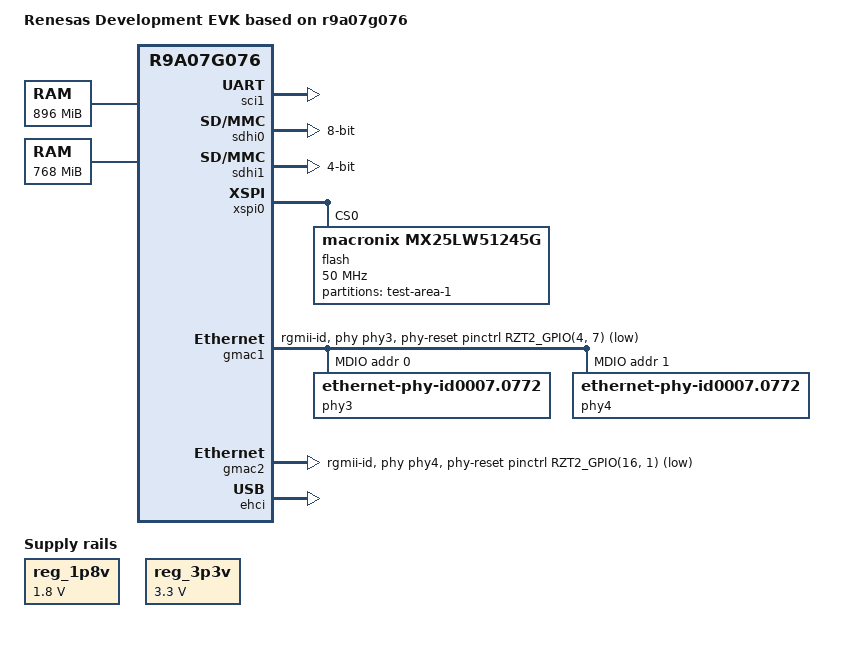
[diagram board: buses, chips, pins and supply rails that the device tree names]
// SPDX-License-Identifier: (GPL-2.0-only OR BSD-2-Clause)
/*
 * Device Tree Source for the RZ/T2N Development EVK board
 *
 * Copyright (C) 2024 Renesas Electronics Corp.
 */

/dts-v1/;
#include "r9a07g076.dtsi"
#include <dt-bindings/pinctrl/rzt2n-pinctrl.h>
#include <dt-bindings/gpio/gpio.h>
#include "r9a07g076-u-boot.dtsi"
/*
 * ETH2 Settings
 * - 0: ETH2 using GMAC2 disabled
 * - 1: ETH2 using GMAC2 ENABLED
 */
#define GMAC2_ETH4_ENABLE		1

/ {
	model = "Renesas Development EVK based on r9a07g076";
	compatible = "renesas,r9a07g076";

	aliases {
		serial0 = &sci1;
		mmc0 = &sdhi0;
		mmc1 = &sdhi1;
		ethernet0 = &gmac1;
		ethernet1 = &gmac2;
	};

	chosen {
		bootargs = "ignore_loglevel";
		stdout-path = "serial0:115200n8";
	};

	memory@c8000000 {
		device_type = "memory";
		/* first 128MiB is reserved for secure area. */
		reg = <0x0 0xc8000000 0x0 0x38000000>;
	};

	memory@240000000 {
		device_type = "memory";
		reg = <0x2 0x40000000 0x0 0x30000000>;
	};

	reg_1p8v: regulator0 {
		compatible = "regulator-fixed";

		regulator-name = "fixed-1.8V";
		regulator-min-microvolt = <1800000>;
		regulator-max-microvolt = <1800000>;
		regulator-boot-on;
		regulator-always-on;
	};

	reg_3p3v: regulator1 {
		compatible = "regulator-fixed";

		regulator-name = "fixed-3.3V";
		regulator-min-microvolt = <3300000>;
		regulator-max-microvolt = <3300000>;
		regulator-boot-on;
		regulator-always-on;
	};

};

&pinctrl {
	sci0_pins: sci0 {
		pinmux = <RZT2_PORT_PINMUX(11, 3, 0x18)>, /* SCI : RXD0/SCL0/MISO0/P11_3 */
			 <RZT2_PORT_PINMUX(11, 4, 0x18)>; /* SCI : TXD0/SDA0/MOSI0/P11_4 */
	};

	sci1_pins: sci1 {
		pinmux = <RZT2_PORT_PINMUX(11, 1, 0x18)>, /* SCI : RXD1/SCL1/MISO1/P11_1 */
			 <RZT2_PORT_PINMUX(11, 2, 0x18)>; /* SCI : TXD1/SDA1/MOSI1/P11_2 */
	};

	sdhi0_pins: sd0 {
		sd0_data {
			pinmux = <RZT2_PORT_PINMUX(4, 6, 0x2C)>, /* SDHI : SD0_DATA0/P04_6 */
				 <RZT2_PORT_PINMUX(4, 7, 0x2C)>, /* SDHI : SD0_DATA1/P04_7 */
				 <RZT2_PORT_PINMUX(5, 0, 0x2C)>, /* SDHI : SD0_DATA2/P05_0 */
				 <RZT2_PORT_PINMUX(5, 1, 0x2C)>, /* SDHI : SD0_DATA3/P05_1 */
				 <RZT2_PORT_PINMUX(5, 2, 0x2C)>, /* SDHI : SD0_DATA4/P05_2 */
				 <RZT2_PORT_PINMUX(5, 3, 0x2C)>, /* SDHI : SD0_DATA5/P05_3 */
				 <RZT2_PORT_PINMUX(5, 4, 0x2C)>, /* SDHI : SD0_DATA6/P05_4 */
				 <RZT2_PORT_PINMUX(5, 5, 0x2C)>; /* SDHI : SD0_DATA7/P05_5 */
		};

		sd0_ctrl {
			pinmux = <RZT2_PORT_PINMUX(4, 4, 0x2C)>, /* SDHI : SD0_CLK/P04_4 */
				 <RZT2_PORT_PINMUX(4, 5, 0x2C)>; /* SDHI : SD0_CMD/P04_5 */
		};
	};

	sdhi1_pins: sd1 {
		sd1_data {
			pinmux = <RZT2_PORT_PINMUX(4, 0, 0x2C)>, /* SDHI : SD1_DATA0/P04_0 */
				 <RZT2_PORT_PINMUX(4, 1, 0x2C)>, /* SDHI : SD1_DATA1/P04_1 */
				 <RZT2_PORT_PINMUX(4, 2, 0x2C)>, /* SDHI : SD1_DATA2/P04_2 */
				 <RZT2_PORT_PINMUX(4, 3, 0x2C)>; /* SDHI : SD1_DATA3/P04_3 */
		};

		sd1_ctrl {
			pinmux = <RZT2_PORT_PINMUX(15, 0, 0x2C)>, /* SDHI : SD1_CD/P15_0 */
				 <RZT2_PORT_PINMUX(3, 6, 0x2C)>, /* SDHI : SD1_CLK/P03_6 */
				 <RZT2_PORT_PINMUX(3, 7, 0x2C)>; /* SDHI : SD1_CMD/P03_7 */
		};
	};


	mdio0_pins: gmac_mdio0 {
		pinmux = <RZT2_PORT_PINMUX(20, 4, 0x11)>, /* GMAC : GMAC0_MDC/P20_4 */
			 <RZT2_PORT_PINMUX(20, 5, 0x11)>; /* GMAC : GMAC0_MDIO/P20_5 */
	};

	mdio1_pins: gmac_mdio1 {
		pinmux = <RZT2_PORT_PINMUX(3, 2, 0x12)>, /* GMAC : GMAC1_MDC/P3_2 */
			 <RZT2_PORT_PINMUX(3, 3, 0x12)>; /* GMAC : GMAC1_MDIO/P3_3 */
	};

	pins_refclk: pins_refclk {
		pinmux = <RZT2_PORT_PINMUX(20, 7, 0x02)>, /* Clock : ETH0_REFCLK/P20_7 */
			 <RZT2_PORT_PINMUX(22, 6, 0x02)>, /* Clock : ETH1_REFCLK/P22_6 */
			 <RZT2_PORT_PINMUX(24, 4, 0x02)>, /* Clock : ETH2_REFCLK/P24_4 */
			 <RZT2_PORT_PINMUX(01, 4, 0x02)>, /* Clock : ETH3_REFCLK/P01_4 */
			 <RZT2_PORT_PINMUX(03, 4, 0x02)>; /* Clock : ETH4_REFCLK/P03_4 */
	};

	eth0_pins: ethss_0 {
		pinmux = <RZT2_PORT_PINMUX(19, 0, 0x0F)>, /* ETHSS : ETH0_TXCLK/P19_0 */
			 <RZT2_PORT_PINMUX(19, 1, 0x0F)>, /* ETHSS : ETH0_TXD0/P19_1 */
			 <RZT2_PORT_PINMUX(19, 2, 0x0F)>, /* ETHSS : ETH0_TXD1/P19_2 */
			 <RZT2_PORT_PINMUX(19, 3, 0x0F)>, /* ETHSS : ETH0_TXD2/P19_3 */
			 <RZT2_PORT_PINMUX(19, 4, 0x0F)>, /* ETHSS : ETH0_TXD3/P19_4 */
			 <RZT2_PORT_PINMUX(19, 5, 0x0F)>, /* ETHSS : ETH0_TXEN/P19_5 */
			 <RZT2_PORT_PINMUX(19, 6, 0x0F)>, /* ETHSS : ETH0_RXCLK/P19_6 */
			 <RZT2_PORT_PINMUX(19, 7, 0x0F)>, /* ETHSS : ETH0_RXD0/P19_7 */
			 <RZT2_PORT_PINMUX(20, 0, 0x0F)>, /* ETHSS : ETH0_RXD1/P20_0 */
			 <RZT2_PORT_PINMUX(20, 1, 0x0F)>, /* ETHSS : ETH0_RXD2/P20_1 */
			 <RZT2_PORT_PINMUX(20, 2, 0x0F)>, /* ETHSS : ETH0_RXD3/P20_2 */
			 <RZT2_PORT_PINMUX(20, 3, 0x0F)>; /* ETHSS : ETH0_RXDV/P20_3 */
			input-schmitt-disable;
			slew-rate	= <1>;
			drive-strength	= <3>;
	};

	eth1_pins: ethss_1 {
		pinmux = <RZT2_PORT_PINMUX(21, 1, 0x0F)>, /* ETHSS : ETH1_TXCLK/P21_1 */
			 <RZT2_PORT_PINMUX(21, 2, 0x0F)>, /* ETHSS : ETH1_TXD0/P21_2 */
			 <RZT2_PORT_PINMUX(21, 3, 0x0F)>, /* ETHSS : ETH1_TXD1/P21_3 */
			 <RZT2_PORT_PINMUX(21, 4, 0x0F)>, /* ETHSS : ETH1_TXD2/P21_4 */
			 <RZT2_PORT_PINMUX(21, 5, 0x0F)>, /* ETHSS : ETH1_TXD3/P21_5 */
			 <RZT2_PORT_PINMUX(21, 6, 0x0F)>, /* ETHSS : ETH1_TXEN/P21_6 */
			 <RZT2_PORT_PINMUX(21, 7, 0x0F)>, /* ETHSS : ETH1_RXCLK/P21_7 */
			 <RZT2_PORT_PINMUX(22, 0, 0x0F)>, /* ETHSS : ETH1_RXD0/P22_0 */
			 <RZT2_PORT_PINMUX(22, 1, 0x0F)>, /* ETHSS : ETH1_RXD1/P22_1 */
			 <RZT2_PORT_PINMUX(22, 2, 0x0F)>, /* ETHSS : ETH1_RXD2/P22_2 */
			 <RZT2_PORT_PINMUX(22, 3, 0x0F)>, /* ETHSS : ETH1_RXD3/P22_3 */
			 <RZT2_PORT_PINMUX(22, 4, 0x0F)>; /* ETHSS : ETH1_RXDV/P22_4 */
			input-schmitt-disable;
			slew-rate	= <1>;
			drive-strength	= <3>;
	};

	eth2_pins: ethss_2 {
		pinmux = <RZT2_PORT_PINMUX(23, 0, 0x0F)>, /* ETHSS : ETH2_TXCLK/P23_0 */
			 <RZT2_PORT_PINMUX(23, 1, 0x0F)>, /* ETHSS : ETH2_TXD0/P23_1 */
			 <RZT2_PORT_PINMUX(23, 2, 0x0F)>, /* ETHSS : ETH2_TXD1/P23_2 */
			 <RZT2_PORT_PINMUX(23, 3, 0x0F)>, /* ETHSS : ETH2_TXD2/P23_3 */
			 <RZT2_PORT_PINMUX(23, 4, 0x0F)>, /* ETHSS : ETH2_TXD3/P23_4 */
			 <RZT2_PORT_PINMUX(23, 5, 0x0F)>, /* ETHSS : ETH2_TXEN/P23_5 */
			 <RZT2_PORT_PINMUX(23, 6, 0x0F)>, /* ETHSS : ETH2_RXCLK/P23_6 */
			 <RZT2_PORT_PINMUX(23, 7, 0x0F)>, /* ETHSS : ETH2_RXD0/P23_7 */
			 <RZT2_PORT_PINMUX(24, 0, 0x0F)>, /* ETHSS : ETH2_RXD1/P24_0 */
			 <RZT2_PORT_PINMUX(24, 1, 0x0F)>, /* ETHSS : ETH2_RXD2/P24_1 */
			 <RZT2_PORT_PINMUX(24, 2, 0x0F)>, /* ETHSS : ETH2_RXD3/P24_2 */
			 <RZT2_PORT_PINMUX(24, 3, 0x0F)>; /* ETHSS : ETH2_RXDV/P24_3 */
			input-schmitt-disable;
			slew-rate	= <1>;
			drive-strength	= <3>;
	};

	eth3_pins: ethss_3 {
		pinmux = <RZT2_PORT_PINMUX(00, 0, 0x0F)>, /* ETHSS : ETH3_TXCLK/P00_0 */
			 <RZT2_PORT_PINMUX(00, 1, 0x0F)>, /* ETHSS : ETH3_TXD0/P00_1 */
			 <RZT2_PORT_PINMUX(00, 2, 0x0F)>, /* ETHSS : ETH3_TXD1/P00_2 */
			 <RZT2_PORT_PINMUX(00, 3, 0x0F)>, /* ETHSS : ETH3_TXD2/P00_3 */
			 <RZT2_PORT_PINMUX(00, 4, 0x0F)>, /* ETHSS : ETH3_TXD3/P00_4 */
			 <RZT2_PORT_PINMUX(00, 5, 0x0F)>, /* ETHSS : ETH3_TXEN/P00_5 */
			 <RZT2_PORT_PINMUX(00, 6, 0x0F)>, /* ETHSS : ETH3_RXCLK/P00_6 */
			 <RZT2_PORT_PINMUX(00, 7, 0x0F)>, /* ETHSS : ETH3_RXD0/P00_7 */
			 <RZT2_PORT_PINMUX(01, 0, 0x0F)>, /* ETHSS : ETH3_RXD1/P01_0 */
			 <RZT2_PORT_PINMUX(01, 1, 0x0F)>, /* ETHSS : ETH3_RXD2/P01_1 */
			 <RZT2_PORT_PINMUX(01, 2, 0x0F)>, /* ETHSS : ETH3_RXD3/P01_2 */
			 <RZT2_PORT_PINMUX(01, 3, 0x0F)>; /* ETHSS : ETH3_RXDV/P01_3 */
			input-schmitt-disable;
			slew-rate	= <1>;
			drive-strength	= <3>;
	};

	eth4_pins: ethss_4 {
		pinmux = <RZT2_PORT_PINMUX(01, 6, 0x0F)>, /* ETHSS : ETH4_TXCLK/P01_6 */
			 <RZT2_PORT_PINMUX(01, 7, 0x0F)>, /* ETHSS : ETH4_TXD0/P01_7 */
			 <RZT2_PORT_PINMUX(02, 0, 0x0F)>, /* ETHSS : ETH4_TXD1/P02_0 */
			 <RZT2_PORT_PINMUX(02, 1, 0x0F)>, /* ETHSS : ETH4_TXD2/P02_1 */
			 <RZT2_PORT_PINMUX(02, 2, 0x0F)>, /* ETHSS : ETH4_TXD3/P02_2 */
			 <RZT2_PORT_PINMUX(02, 3, 0x0F)>, /* ETHSS : ETH4_TXEN/P02_3 */
			 <RZT2_PORT_PINMUX(02, 4, 0x0F)>, /* ETHSS : ETH4_RXCLK/P02_4 */
			 <RZT2_PORT_PINMUX(02, 5, 0x0F)>, /* ETHSS : ETH4_RXD0/P02_5 */
			 <RZT2_PORT_PINMUX(02, 6, 0x0F)>, /* ETHSS : ETH4_RXD1/P02_6 */
			 <RZT2_PORT_PINMUX(02, 7, 0x0F)>, /* ETHSS : ETH4_RXD2/P02_7 */
			 <RZT2_PORT_PINMUX(03, 0, 0x0F)>, /* ETHSS : ETH4_RXD3/P03_0 */
			 <RZT2_PORT_PINMUX(03, 1, 0x0F)>; /* ETHSS : ETH4_RXDV/P03_1 */
			input-schmitt-disable;
			slew-rate	= <1>;
			drive-strength	= <3>;
	};

	usb_pins: usb_pins {
		pinmux = <RZT2_PORT_PINMUX(11, 0, 0x17)>, /* USB : USB_VBUSEN/P11_0 */
			 <RZT2_PORT_PINMUX(11, 6, 0x17)>, /* USB : USB_OVRCUR/P11_6 */
			 <RZT2_PORT_PINMUX(11, 7, 0x17)>, /* USB : USB_OTG_ID/P11_7 */
			 <RZT2_PORT_PINMUX(12, 4, 0x17)>; /* USB : USB_VBUSIN/P12_4 */
	};
	xspi_pins: xspi_pins {
		pinmux = <RZT2_PORT_PINMUX(15, 6, 0x20)>, /* XSPI1_CKP */
			 	<RZT2_PORT_PINMUX(15, 7, 0x20)>, /* XSPI1_CS0# */
			 	<RZT2_PORT_PINMUX(16, 2, 0x20)>, /* XSPI1_IO0 */
			 	<RZT2_PORT_PINMUX(16, 3, 0x20)>, /* XSPI1_IO1 */
			 	<RZT2_PORT_PINMUX(16, 4, 0x20)>, /* XSPI1_IO2 */
			 	<RZT2_PORT_PINMUX(16, 5, 0x20)>; /* XSPI1_IO3 */
	};
};

&sci1 {
	status = "okay";
};

&sdhi0 {
	pinctrl-0 = <&sdhi0_pins>;
	pinctrl-names = "default";
	sdhi_gpio_pwen-gpios = <&pinctrl RZT2_GPIO(3, 3) GPIO_ACTIVE_HIGH>;
	sdhi_gpio_iovs-gpios  = <&pinctrl RZT2_GPIO(3, 2) GPIO_ACTIVE_HIGH>;
	bus-width = <8>;
	status = "okay";

	/* This is used for interface that support both eMMC and SD in board */
	mutual-channel;
};

&sdhi1 {
	pinctrl-0 = <&sdhi1_pins>;
	pinctrl-names = "default";
	bus-width = <4>;
	status = "okay";
};

&xspi0 {
	pinctrl-0 = <&xspi_pins>;
	pinctrl-names = "default";
	status = "okay";

	flash@0 {
		compatible = "macronix,mx25lw51245g", "jedec,spi-nor";
		reg = <0>;
		m25p,fast-read;
		spi-max-frequency = <50000000>;
		spi-tx-bus-width = <1>;
		spi-rx-bus-width = <1>;

		partitions {
			compatible = "fixed-partitions";
			#address-cells = <1>;
			#size-cells = <1>;

			partition@000000 {
				label = "test-area-1";
				reg = <0x00000000 0x01000000>;
			};
		};
	};
};

&gmac1 {
	phy-handle = <&phy3>;
	phy-mode = "rgmii-id";
	status = "okay";
	phy-reset-gpios = <&pinctrl RZT2_GPIO(4, 7) GPIO_ACTIVE_HIGH>;
	pinctrl-names = "default";
	pinctrl-0 = <&mdio0_pins>,<&eth0_pins>,<&eth1_pins>,<&eth2_pins>,<&pins_refclk>;
	mdio {
		#address-cells = <1>;
		#size-cells = <0>;

		phy3: ethernet-phy@3 {
			compatible = "ethernet-phy-id0007.0772";
			phy-mode = "rgmii-id";
			reg = <0>;
		};

		phy4: ethernet-phy@4 {
			compatible = "ethernet-phy-id0007.0772";
			phy-mode = "rgmii-id";
			reg = <1>;
		};
	};
};

#if (GMAC2_ETH4_ENABLE)
&gmac2 {
	phy-handle = <&phy4>;
	phy-mode = "rgmii-id";
	phy-reset-gpios = <&pinctrl RZT2_GPIO(16, 1) GPIO_ACTIVE_HIGH>;
	pinctrl-names = "default";
	pinctrl-0 = <&mdio1_pins>,<&eth3_pins>,<&eth4_pins>;
	status = "okay";
};
#endif

&ehci {
	status = "okay";
};
